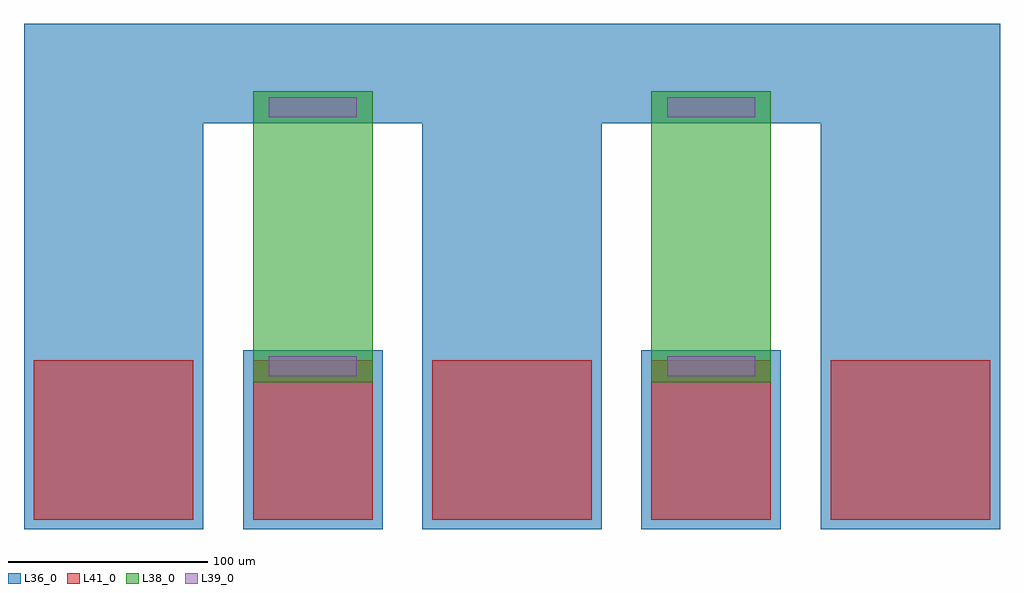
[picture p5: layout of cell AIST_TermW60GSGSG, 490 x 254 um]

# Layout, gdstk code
import gdstk
lib = gdstk.Library(unit=1e-6, precision=1e-09)
def R(c, l, rs):  # rectangles x0, y0, x1, y1
    for r in rs: c.add(gdstk.rectangle(r[:2], r[2:], *l))
def A(c, l, x, y, w, h, nx, ny, dx, dy):  # array of equal rectangles
    R(c, l, [(x+i*dx, y+j*dy, x+i*dx+w, y+j*dy+h) for i in range(nx) for j in range(ny)])
L36_0 = (36, 0)
L38_0 = (38, 0)
L39_0 = (39, 0)
L41_0 = (41, 0)

aist_termw60gsgsg = lib.new_cell('AIST_TermW60GSGSG')
A(aist_termw60gsgsg, L36_0, 0, 0, 90, 90, 3, 1, 200, 0)
A(aist_termw60gsgsg, L36_0, 0, 90, 90, 114, 3, 1, 200, 0)
R(aist_termw60gsgsg, L36_0, [(0,0,90,90), (110,0,180,90), (310,0,380,90), (0,204,490,254)])
R(aist_termw60gsgsg, L38_0, [(115,74,175,220), (315,74,375,220)])
R(aist_termw60gsgsg, L39_0, [(123,77,167,87), (323,77,367,87), (123,207,167,217), (323,207,367,217)])
A(aist_termw60gsgsg, L41_0, 5, 5, 80, 80, 3, 1, 200, 0)
R(aist_termw60gsgsg, L41_0, [(5,5,85,85), (115,5,175,85), (315,5,375,85)])

lib.write_gds('AIST_TermW60GSGSG.gds')
